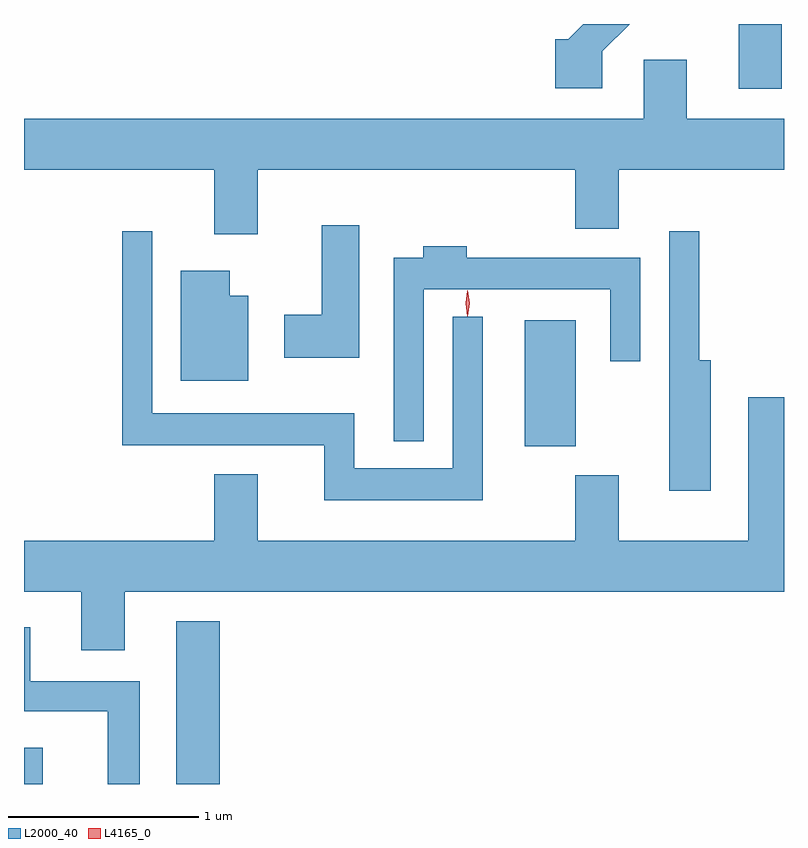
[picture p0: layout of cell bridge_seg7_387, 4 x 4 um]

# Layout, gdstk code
import gdstk
lib = gdstk.Library(unit=1e-6, precision=1e-09)
def R(c, l, rs):  # rectangles x0, y0, x1, y1
    for r in rs: c.add(gdstk.rectangle(r[:2], r[2:], *l))
def P(c, l, *ps):  # polygons
    for p in ps: c.add(gdstk.Polygon(p, *l))
L2000_40 = (2000, 40)
L4165_0 = (4165, 0)

bridge_seg7_387 = lib.new_cell('bridge_seg7_387')
R(bridge_seg7_387, L2000_40, [(1148.35,1757.703,1148.449,1757.894), (1149.151,1757.703,1149.379,1758.559), (1150.986,1759.481,1151.254,1760.144), (1152.111,1761.361,1152.339,1761.703)])
P(bridge_seg7_387, L2000_40, [(1151.394,1761.559),(1151.539,1761.703),(1151.293,1761.703),(1151.214,1761.624),(1151.146,1761.624),(1151.146,1761.366),(1151.394,1761.366)],
  [(1149.579,1760.936),(1151.251,1760.936),(1151.251,1760.626),(1151.479,1760.626),(1151.479,1760.936),(1152.35,1760.936),(1152.35,1761.204),(1151.839,1761.204),(1151.839,1761.514),(1151.611,1761.514),(1151.611,1761.204),(1148.35,1761.204),(1148.35,1760.936),(1149.351,1760.936),(1149.351,1760.596),(1149.579,1760.596)],
  [(1150.114,1760.644),(1149.916,1760.644),(1149.916,1760.174),(1149.721,1760.174),(1149.721,1759.946),(1150.114,1759.946)],
  [(1151.964,1759.934),(1151.904,1759.934),(1151.904,1760.613),(1151.746,1760.613),(1151.746,1759.246),(1151.964,1759.246)],
  [(1150.764,1760.163),(1150.606,1760.163),(1150.606,1759.364),(1150.089,1759.364),(1150.089,1759.654),(1149.024,1759.654),(1149.024,1760.613),(1148.866,1760.613),(1148.866,1759.486),(1149.931,1759.486),(1149.931,1759.196),(1150.764,1759.196)],
  [(1150.454,1760.306),(1151.436,1760.306),(1151.436,1759.928),(1151.594,1759.928),(1151.594,1760.474),(1150.679,1760.474),(1150.679,1760.534),(1150.451,1760.534),(1150.451,1760.474),(1150.296,1760.474),(1150.296,1759.508),(1150.454,1759.508)],
  [(1149.529,1760.274),(1149.434,1760.274),(1149.434,1760.404),(1149.176,1760.404),(1149.176,1759.826),(1149.529,1759.826)],
  [(1148.879,1758.716),(1152.35,1758.716),(1152.35,1759.739),(1152.161,1759.739),(1152.161,1758.984),(1151.479,1758.984),(1151.479,1759.329),(1151.251,1759.329),(1151.251,1758.984),(1149.579,1758.984),(1149.579,1759.334),(1149.351,1759.334),(1149.351,1758.984),(1148.35,1758.984),(1148.35,1758.716),(1148.651,1758.716),(1148.651,1758.406),(1148.879,1758.406)],
  [(1148.959,1758.244),(1148.384,1758.244),(1148.384,1758.528),(1148.35,1758.528),(1148.35,1758.086),(1148.791,1758.086),(1148.791,1757.703),(1148.959,1757.703)])
P(bridge_seg7_387, L4165_0, [(1150.684,1760.164),(1150.676,1760.233),(1150.686,1760.302),(1150.686,1760.303),(1150.686,1760.302),(1150.696,1760.233),(1150.686,1760.164),(1150.685,1760.164)],
  [(1150.684,1760.167),(1150.675,1760.234),(1150.684,1760.3),(1150.685,1760.301),(1150.685,1760.3),(1150.695,1760.234),(1150.685,1760.167),(1150.685,1760.167)])

lib.write_gds('bridge_seg7_387.gds')
